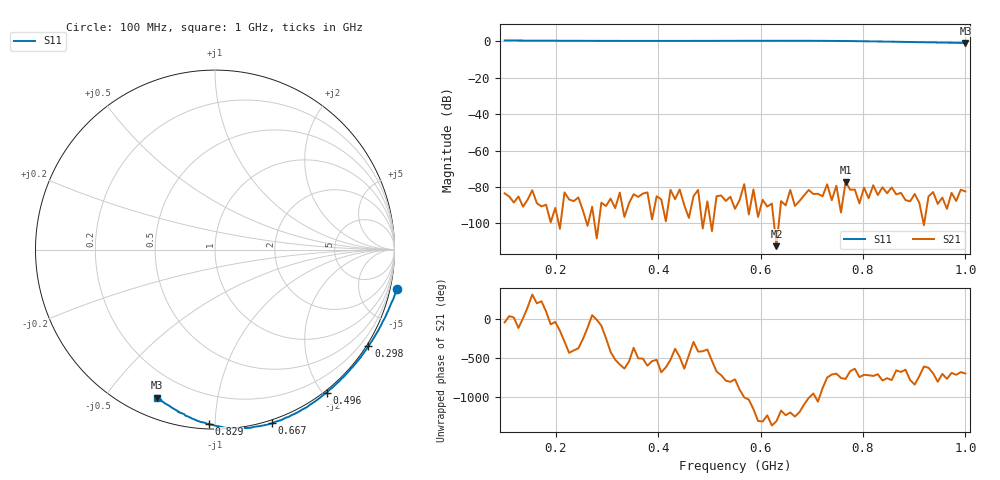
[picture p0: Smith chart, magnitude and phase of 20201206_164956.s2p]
# HZ S RI R 50
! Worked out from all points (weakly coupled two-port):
!   101 points, 100 MHz to 1 GHz, reference 50 ohm
!   highest |S21| = -77.22 dB at 766 MHz (marker M1); lowest = -112.4 dB at 631 MHz (marker M2)
!   lowest |S11| = -1.1 dB at 1 GHz (marker M3), VSWR 16.45, Z = 4.44 - j33.9 ohm
!   |S11| at or under -10 dB: nowhere
!   S12 and S22 are empty: the file has one direction only
!   S11 on the Smith chart (normalised r, x): 100 MHz: -1.53, -9.08; 298 MHz: -0.06, -3.47; 496 MHz: -0.03, -2.05; 667 MHz: -0.03, -1.38; 829 MHz: 0.03, -0.96; 1 GHz: 0.09, -0.68
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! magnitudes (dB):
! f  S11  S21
! 100 MHz  0.3  -83.5
! 253 MHz  0.1  -92.9
! 298 MHz  0.1  -90.4
! 406 MHz  0.1  -86.8
! 496 MHz  0.1  -87.8
! 550 MHz  0.1  -92.0
! 559 MHz  0.1  -87.2
! 568 MHz  0.1  -78.4
! 577 MHz  0.1  -95.1
! 631 MHz  0.1  -112.4
! 667 MHz  0.2  -90.4
! 703 MHz  0.1  -83.8
! 721 MHz  0.1  -85.1
! 730 MHz  0.1  -78.5
! 739 MHz  0.1  -87.3
! 757 MHz  0.0  -94.0
! 766 MHz  0.0  -77.2
! 775 MHz  0.0  -81.5
! 820 MHz  -0.2  -79.0
! 829 MHz  -0.2  -84.4
! 856 MHz  -0.4  -80.2
! 1 GHz  -1.1  -82.4
